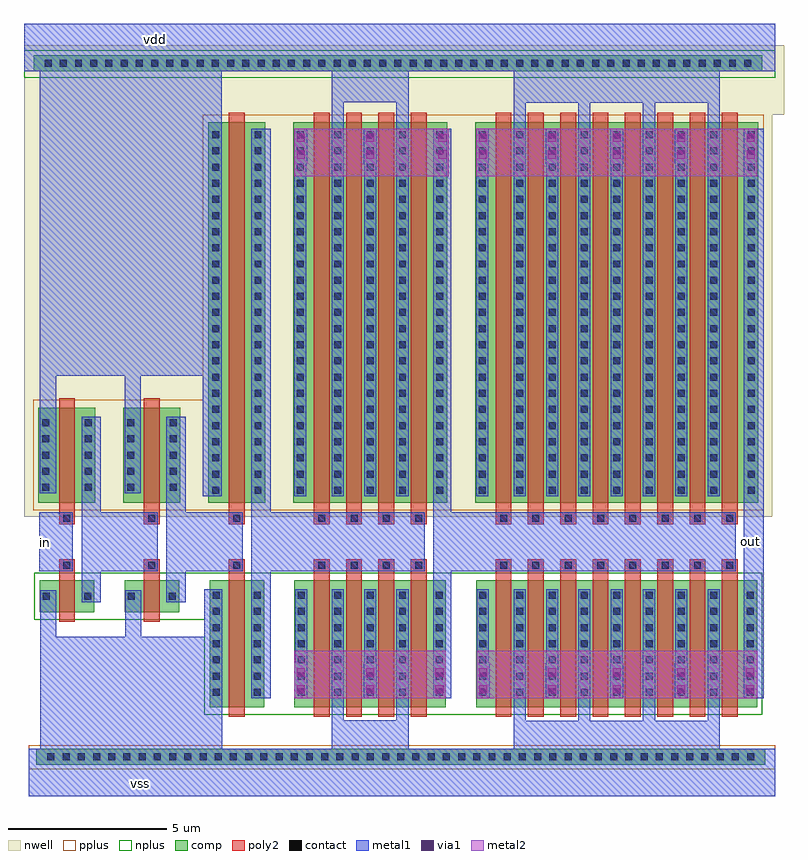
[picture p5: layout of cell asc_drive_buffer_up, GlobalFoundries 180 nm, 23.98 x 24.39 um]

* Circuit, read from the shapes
.subckt asc_drive_buffer_up in out vdd vss
XM1 n1 in vss vss nfet_03v3 w=1u l=0.5u
XM2 n2 n1 vss vss nfet_03v3 w=1u l=0.5u
XM3 n3 n2 vss vss nfet_03v3 w=4u l=0.5u
XM4 vss n3 n4 vss nfet_03v3 w=4u l=0.5u m=4
XM5 vss n4 out vss nfet_03v3 w=4u l=0.5u m=8
XM6 n1 in vdd vdd pfet_03v3 w=3u l=0.5u
XM7 n2 n1 vdd vdd pfet_03v3 w=3u l=0.5u
XM8 n3 n2 vdd vdd pfet_03v3 w=12u l=0.5u
XM9 vdd n3 n4 vdd pfet_03v3 w=12u l=0.5u m=4
XM10 vdd n4 out vdd pfet_03v3 w=12u l=0.5u m=8
.ends

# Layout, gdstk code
from math import pi, radians
import gdstk
lib = gdstk.Library(unit=1e-6, precision=5e-09)
def R(c, l, rs):  # rectangles x0, y0, x1, y1
    for r in rs: c.add(gdstk.rectangle(r[:2], r[2:], *l))
def A(c, l, x, y, w, h, nx, ny, dx, dy):  # array of equal rectangles
    R(c, l, [(x+i*dx, y+j*dy, x+i*dx+w, y+j*dy+h) for i in range(nx) for j in range(ny)])
nwell = (21, 0)
comp = (22, 0)
poly2 = (30, 0)
pplus = (31, 0)
nplus = (32, 0)
contact = (33, 0)
metal1 = (34, 0)
via1 = (35, 0)
metal2 = (36, 0)

via_dev_721 = lib.new_cell('via_dev$721')

via_dev_722 = lib.new_cell('via_dev$722')
R(via_dev_722, metal1, [(0,0,1.1,0.4)])
R(via_dev_722, via1, [(0.155,0.07,0.415,0.33), (0.685,0.07,0.945,0.33)])
R(via_dev_722, metal2, [(0,0,1.1,0.4)])

nfet_252 = lib.new_cell('nfet$252')
R(nfet_252, comp, [(-0.42,0,0,4), (0,0,3.94,4), (3.94,0,4.36,4)])
A(nfet_252, poly2, 0.19, -0.3, 0.5, 4.6, 4, 1, 1.02, 0)
A(nfet_252, poly2, 0.19, 4.3, 0.5, 0.36, 4, 1, 1.02, 0)
R(nfet_252, nplus, [(-0.59,-0.24,4.53,4.24)])
A(nfet_252, contact, -0.32, 0.36, 0.22, 0.22, 1, 7, 0, 0.51)
A(nfet_252, contact, 0.84, 0.36, 0.22, 0.22, 3, 7, 1.02, 0.51)
A(nfet_252, contact, 4.04, 0.36, 0.22, 0.22, 1, 7, 0, 0.51)
A(nfet_252, contact, 0.33, 4.37, 0.22, 0.22, 4, 1, 1.02, 0)
A(nfet_252, metal1, 0.76, 0.28, 0.38, 3.44, 3, 1, 1.02, 0)
A(nfet_252, metal1, 0.25, 4.29, 0.38, 0.38, 4, 1, 1.02, 0)
R(nfet_252, metal1, [(-0.4,0.28,-0.02,3.72), (3.96,0.28,4.34,3.72)])

via_dev_723 = lib.new_cell('via_dev$723')
R(via_dev_723, comp, [(0,0,23,0.5)])
A(via_dev_723, contact, 0.35, 0.14, 0.22, 0.22, 47, 1, 0.48, 0)
R(via_dev_723, metal1, [(0,0,23,0.5)])

nfet_253 = lib.new_cell('nfet$253')
R(nfet_253, comp, [(-0.42,0,0,4), (0,0,8.02,4), (8.02,0,8.44,4)])
A(nfet_253, poly2, 0.19, -0.3, 0.5, 4.6, 8, 1, 1.02, 0)
A(nfet_253, poly2, 0.19, 4.3, 0.5, 0.36, 8, 1, 1.02, 0)
R(nfet_253, nplus, [(-0.59,-0.24,8.61,4.24)])
A(nfet_253, contact, -0.32, 0.36, 0.22, 0.22, 1, 7, 0, 0.51)
A(nfet_253, contact, 0.84, 0.36, 0.22, 0.22, 7, 7, 1.02, 0.51)
A(nfet_253, contact, 8.12, 0.36, 0.22, 0.22, 1, 7, 0, 0.51)
A(nfet_253, contact, 0.33, 4.37, 0.22, 0.22, 8, 1, 1.02, 0)
A(nfet_253, metal1, 0.76, 0.28, 0.38, 3.44, 7, 1, 1.02, 0)
A(nfet_253, metal1, 0.25, 4.29, 0.38, 0.38, 8, 1, 1.02, 0)
R(nfet_253, metal1, [(-0.4,0.28,-0.02,3.72), (8.04,0.28,8.42,3.72)])

pfet_238 = lib.new_cell('pfet$238')
R(pfet_238, nwell, [(-0.9,-0.44,8.92,12.44)])
R(pfet_238, comp, [(-0.46,0,0,12), (0,0,8.02,12), (8.02,0,8.48,12)])
A(pfet_238, poly2, 0.19, -0.68, 0.5, 0.38, 8, 1, 1.02, 0)
A(pfet_238, poly2, 0.19, -0.3, 0.5, 12.6, 8, 1, 1.02, 0)
R(pfet_238, pplus, [(-0.63,-0.24,8.65,12.24)])
A(pfet_238, contact, 0.33, -0.6, 0.22, 0.22, 8, 1, 1.02, 0)
A(pfet_238, contact, -0.34, 0.28, 0.22, 0.22, 1, 23, 0, 0.51)
A(pfet_238, contact, 0.84, 0.28, 0.22, 0.22, 7, 23, 1.02, 0.51)
A(pfet_238, contact, 8.14, 0.28, 0.22, 0.22, 1, 23, 0, 0.51)
A(pfet_238, metal1, 0.25, -0.68, 0.38, 0.38, 8, 1, 1.02, 0)
A(pfet_238, metal1, 0.76, 0.2, 0.38, 11.6, 7, 1, 1.02, 0)
R(pfet_238, metal1, [(-0.42,0.2,-0.04,11.8), (8.06,0.2,8.44,11.8)])

via_dev_724 = lib.new_cell('via_dev$724')

pfet_239 = lib.new_cell('pfet$239')
R(pfet_239, nwell, [(-0.9,-0.44,4.84,12.44)])
R(pfet_239, comp, [(-0.46,0,0,12), (0,0,3.94,12), (3.94,0,4.4,12)])
A(pfet_239, poly2, 0.19, -0.68, 0.5, 0.38, 4, 1, 1.02, 0)
A(pfet_239, poly2, 0.19, -0.3, 0.5, 12.6, 4, 1, 1.02, 0)
R(pfet_239, pplus, [(-0.63,-0.24,4.57,12.24)])
A(pfet_239, contact, 0.33, -0.6, 0.22, 0.22, 4, 1, 1.02, 0)
A(pfet_239, contact, -0.34, 0.28, 0.22, 0.22, 1, 23, 0, 0.51)
A(pfet_239, contact, 0.84, 0.28, 0.22, 0.22, 3, 23, 1.02, 0.51)
A(pfet_239, contact, 4.06, 0.28, 0.22, 0.22, 1, 23, 0, 0.51)
A(pfet_239, metal1, 0.25, -0.68, 0.38, 0.38, 4, 1, 1.02, 0)
A(pfet_239, metal1, 0.76, 0.2, 0.38, 11.6, 3, 1, 1.02, 0)
R(pfet_239, metal1, [(-0.42,0.2,-0.04,11.8), (3.98,0.2,4.36,11.8)])

nfet_254 = lib.new_cell('nfet$254')
R(nfet_254, comp, [(-0.42,0,0,4), (0,0,0.88,4), (0.88,0,1.3,4)])
R(nfet_254, poly2, [(0.19,-0.3,0.69,4.3), (0.19,4.3,0.69,4.66)])
R(nfet_254, nplus, [(-0.59,-0.24,1.47,4.24)])
A(nfet_254, contact, -0.32, 0.36, 0.22, 0.22, 1, 7, 0, 0.51)
A(nfet_254, contact, 0.98, 0.36, 0.22, 0.22, 1, 7, 0, 0.51)
R(nfet_254, contact, [(0.33,4.37,0.55,4.59)])
R(nfet_254, metal1, [(-0.4,0.28,-0.02,3.72), (0.9,0.28,1.28,3.72), (0.25,4.29,0.63,4.67)])

pfet_240 = lib.new_cell('pfet$240')
R(pfet_240, nwell, [(-0.9,-0.44,1.78,12.44)])
R(pfet_240, comp, [(-0.46,0,0,12), (0,0,0.88,12), (0.88,0,1.34,12)])
R(pfet_240, poly2, [(0.19,-0.68,0.69,-0.3), (0.19,-0.3,0.69,12.3)])
R(pfet_240, pplus, [(-0.63,-0.24,1.51,12.24)])
A(pfet_240, contact, -0.34, 0.28, 0.22, 0.22, 1, 23, 0, 0.51)
A(pfet_240, contact, 1, 0.28, 0.22, 0.22, 1, 23, 0, 0.51)
R(pfet_240, contact, [(0.33,-0.6,0.55,-0.38)])
R(pfet_240, metal1, [(0.25,-0.68,0.63,-0.3), (-0.42,0.2,-0.04,11.8), (0.92,0.2,1.3,11.8)])

nfet_255 = lib.new_cell('nfet$255')
R(nfet_255, comp, [(-0.42,0,0,1), (0,0,0.88,1), (0.88,0,1.3,1)])
R(nfet_255, poly2, [(0.19,-0.3,0.69,1.3), (0.19,1.3,0.69,1.66)])
R(nfet_255, nplus, [(-0.59,-0.24,1.47,1.24)])
R(nfet_255, contact, [(-0.32,0.39,-0.1,0.61), (0.98,0.39,1.2,0.61), (0.33,1.37,0.55,1.59)])
R(nfet_255, metal1, [(-0.4,0.31,-0.02,0.69), (0.9,0.31,1.28,0.69), (0.25,1.29,0.63,1.67)])

pfet_241 = lib.new_cell('pfet$241')
R(pfet_241, nwell, [(-0.9,-0.44,1.78,3.44)])
R(pfet_241, comp, [(-0.46,0,0,3), (0,0,0.88,3), (0.88,0,1.34,3)])
R(pfet_241, poly2, [(0.19,-0.68,0.69,-0.3), (0.19,-0.3,0.69,3.3)])
R(pfet_241, pplus, [(-0.63,-0.24,1.51,3.24)])
A(pfet_241, contact, -0.34, 0.37, 0.22, 0.22, 1, 5, 0, 0.51)
A(pfet_241, contact, 1, 0.37, 0.22, 0.22, 1, 5, 0, 0.51)
R(pfet_241, contact, [(0.33,-0.6,0.55,-0.38)])
R(pfet_241, metal1, [(0.25,-0.68,0.63,-0.3), (-0.42,0.29,-0.04,2.71), (0.92,0.29,1.3,2.71)])

nfet_256 = lib.new_cell('nfet$256')
R(nfet_256, comp, [(-0.42,0,0,1), (0,0,0.88,1), (0.88,0,1.3,1)])
R(nfet_256, poly2, [(0.19,-0.3,0.69,1.3), (0.19,1.3,0.69,1.66)])
R(nfet_256, nplus, [(-0.59,-0.24,1.47,1.24)])
R(nfet_256, contact, [(-0.32,0.39,-0.1,0.61), (0.98,0.39,1.2,0.61), (0.33,1.37,0.55,1.59)])
R(nfet_256, metal1, [(-0.4,0.31,-0.02,0.69), (0.9,0.31,1.28,0.69), (0.25,1.29,0.63,1.67)])

pfet_242 = lib.new_cell('pfet$242')
R(pfet_242, nwell, [(-0.9,-0.44,1.78,3.44)])
R(pfet_242, comp, [(-0.46,0,0,3), (0,0,0.88,3), (0.88,0,1.34,3)])
R(pfet_242, poly2, [(0.19,-0.68,0.69,-0.3), (0.19,-0.3,0.69,3.3)])
R(pfet_242, pplus, [(-0.63,-0.24,1.51,3.24)])
A(pfet_242, contact, -0.34, 0.37, 0.22, 0.22, 1, 5, 0, 0.51)
A(pfet_242, contact, 1, 0.37, 0.22, 0.22, 1, 5, 0, 0.51)
R(pfet_242, contact, [(0.33,-0.6,0.55,-0.38)])
R(pfet_242, metal1, [(0.25,-0.68,0.63,-0.3), (-0.42,0.29,-0.04,2.71), (0.92,0.29,1.3,2.71)])

asc_drive_buffer_up = lib.new_cell('asc_drive_buffer_up')
R(asc_drive_buffer_up, nwell, [(-4.645,13.175,-1.95,21.975), (-1.965,13.175,0.73,21.975), (-4.645,21.975,19.34,24.175)])
R(asc_drive_buffer_up, pplus, [(-4.5,1.325,19.07,2.075), (-2.22,9.495,-1.68,12.975), (0.46,9.495,1,12.975), (3.14,9.495,3.68,21.975), (8.88,9.495,9.42,21.975)])
R(asc_drive_buffer_up, nplus, [(3.1,3.04,3.72,7.52), (8.84,3.04,9.46,7.52), (-2.26,6.04,-1.64,7.52), (0.42,6.04,1.04,7.52), (-4.645,23.15,19.07,24.015)])
A(asc_drive_buffer_up, metal1, 10.81, 1.965, 0.38, 1.595, 4, 1, 2.04, 0)
A(asc_drive_buffer_up, metal1, 10.81, 21.535, 0.38, 1.815, 4, 1, 2.04, 0)
R(asc_drive_buffer_up, metal1, [(-4.5,0.465,19.07,1.965), (-1.9,1.465,-1.75,1.965), (-4.13,1.965,-3.625,6.97), (-3.625,1.965,1.04,5.5), (-1.45,1.965,-0.945,6.97), (1.04,1.965,1.61,7), (5.07,1.965,5.45,3.56), (5.45,1.965,7.11,2.86), (7.11,1.965,7.49,3.56), (11.19,1.965,16.93,2.855), (8.27,3.555,8.84,21.535), (2.53,3.56,3.14,21.535), (18.07,3.56,18.7,21.535), (-2.83,6.59,-2.22,12.445), (-0.15,6.59,0.46,12.445), (-4.16,7.57,-3.1,9.435), (-2.22,7.57,-0.42,9.435), (0.46,7.57,2.26,9.435), (3.14,7.57,8,9.435), (8.84,7.57,17.82,9.435), (1.88,7.95,2.26,9.055), (1,9.935,1.59,23.35), (-2.81,9.955,-2.43,10.025), (-0.13,9.955,0.25,10.025), (-4.15,10.025,-3.635,23.35), (-1.47,10.025,-0.955,23.35), (-3.635,13.745,1,23.35), (5.07,21.535,5.45,23.35), (7.11,21.535,7.49,23.35), (11.19,22.36,16.93,23.35), (5.45,22.365,7.11,23.35), (-4.645,23.35,19.07,24.85), (-1.77,23.35,-1.62,23.85)])
R(asc_drive_buffer_up, metal2, [(3.89,3.555,8.67,5.06), (9.65,3.555,18.49,5.06), (3.89,20.035,8.76,21.535), (9.63,20.035,18.49,21.535)])
asc_drive_buffer_up.add(gdstk.Reference(via_dev_721, (-2.41,2.26), rotation=pi/2))
asc_drive_buffer_up.add(gdstk.Reference(via_dev_722, (4.29,3.56), rotation=pi/2))
asc_drive_buffer_up.add(gdstk.Reference(nfet_252, (4.31,3.28)))
asc_drive_buffer_up.add(gdstk.Reference(via_dev_723, (-4.345,23.35)))
asc_drive_buffer_up.add(gdstk.Reference(via_dev_723, (-4.255,1.465)))
asc_drive_buffer_up.add(gdstk.Reference(nfet_253, (10.05,3.28)))
asc_drive_buffer_up.add(gdstk.Reference(via_dev_722, (6.48,3.56), rotation=pi/2))
asc_drive_buffer_up.add(gdstk.Reference(pfet_238, (10.05,9.735)))
asc_drive_buffer_up.add(gdstk.Reference(via_dev_724, (2.95,2.26), rotation=pi/2))
asc_drive_buffer_up.add(gdstk.Reference(pfet_239, (4.31,9.735)))
asc_drive_buffer_up.add(gdstk.Reference(nfet_254, (1.63,3.28)))
asc_drive_buffer_up.add(gdstk.Reference(via_dev_724, (0.27,2.26), rotation=pi/2))
asc_drive_buffer_up.add(gdstk.Reference(pfet_240, (1.63,9.735)))
asc_drive_buffer_up.add(gdstk.Reference(via_dev_724, (-4.03,2.26), rotation=pi/2))
asc_drive_buffer_up.add(gdstk.Reference(nfet_255, (-1.05,6.28)))
asc_drive_buffer_up.add(gdstk.Reference(via_dev_722, (8.67,3.56), rotation=pi/2))
asc_drive_buffer_up.add(gdstk.Reference(pfet_241, (-1.05,9.735)))
asc_drive_buffer_up.add(gdstk.Reference(via_dev_722, (4.29,20.435), rotation=pi/2))
asc_drive_buffer_up.add(gdstk.Reference(via_dev_722, (6.48,20.435), rotation=pi/2))
asc_drive_buffer_up.add(gdstk.Reference(via_dev_722, (8.76,20.435), rotation=pi/2))
asc_drive_buffer_up.add(gdstk.Reference(via_dev_722, (10.03,20.435), rotation=pi/2))
asc_drive_buffer_up.add(gdstk.Reference(via_dev_722, (12.22,20.435), rotation=pi/2))
asc_drive_buffer_up.add(gdstk.Reference(via_dev_722, (14.26,20.435), rotation=pi/2))
asc_drive_buffer_up.add(gdstk.Reference(via_dev_722, (16.3,20.435), rotation=pi/2))
asc_drive_buffer_up.add(gdstk.Reference(via_dev_722, (18.49,20.435), rotation=pi/2))
asc_drive_buffer_up.add(gdstk.Reference(via_dev_722, (10.05,3.56), rotation=pi/2))
asc_drive_buffer_up.add(gdstk.Reference(via_dev_722, (12.22,3.56), rotation=pi/2))
asc_drive_buffer_up.add(gdstk.Reference(via_dev_722, (14.26,3.56), rotation=pi/2))
asc_drive_buffer_up.add(gdstk.Reference(via_dev_722, (16.3,3.56), rotation=pi/2))
asc_drive_buffer_up.add(gdstk.Reference(via_dev_722, (18.47,3.56), rotation=pi/2))
asc_drive_buffer_up.add(gdstk.Reference(via_dev_721, (-6.71,2.26), rotation=pi/2))
asc_drive_buffer_up.add(gdstk.Reference(nfet_256, (-3.73,6.28)))
asc_drive_buffer_up.add(gdstk.Reference(pfet_242, (-3.73,9.735)))
asc_drive_buffer_up.add(gdstk.Label('vss', (-0.965,0.87), layer=34, texttype=10))
asc_drive_buffer_up.add(gdstk.Label('vdd', (-0.505,24.35), layer=34, texttype=10))
asc_drive_buffer_up.add(gdstk.Label('out', (18.285,8.495), layer=34, texttype=10))
asc_drive_buffer_up.add(gdstk.Label('in', (-3.955,8.465), layer=34, texttype=10))

lib.write_gds('asc_drive_buffer_up.gds')
